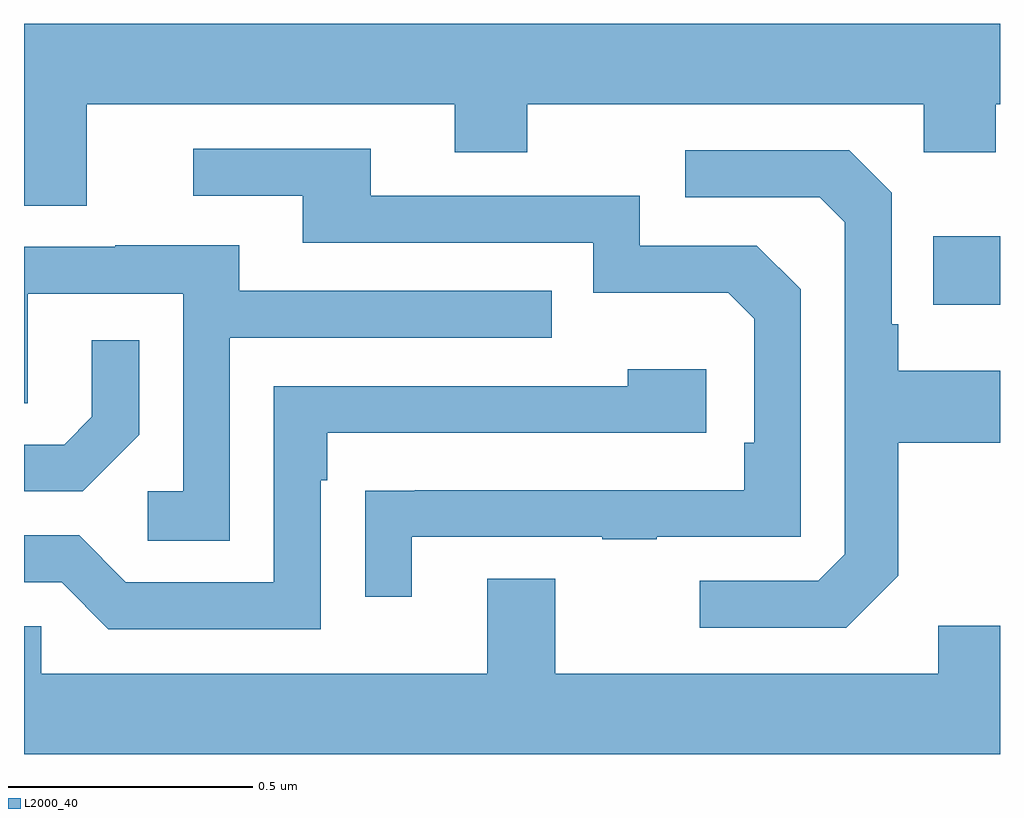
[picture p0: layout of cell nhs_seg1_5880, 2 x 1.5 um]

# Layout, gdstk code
import gdstk
lib = gdstk.Library(unit=1e-6, precision=1e-09)
def R(c, l, rs):  # rectangles x0, y0, x1, y1
    for r in rs: c.add(gdstk.rectangle(r[:2], r[2:], *l))
def P(c, l, *ps):  # polygons
    for p in ps: c.add(gdstk.Polygon(p, *l))
L2000_40 = (2000, 40)

nhs_seg1_5880 = lib.new_cell('nhs_seg1_5880')
R(nhs_seg1_5880, L2000_40, [(185.863,555.317,186,555.457)])
P(nhs_seg1_5880, L2000_40, [(184.129,555.728),(184.883,555.728),(184.883,555.629),(185.031,555.629),(185.031,555.728),(185.844,555.728),(185.844,555.629),(185.991,555.629),(185.991,555.728),(186,555.728),(186,555.892),(184,555.892),(184,555.52),(184.129,555.52)],
  [(184.795,554.841),(185.185,554.841),(185.185,554.836),(185.297,554.836),(185.297,554.841),(185.592,554.841),(185.592,555.348),(185.502,555.438),(185.262,555.438),(185.262,555.54),(184.711,555.54),(184.711,555.636),(184.347,555.636),(184.347,555.54),(184.571,555.54),(184.571,555.444),(185.166,555.444),(185.166,555.341),(185.443,555.341),(185.496,555.288),(185.496,555.034),(185.476,555.034),(185.476,554.937),(184.801,554.937),(184.801,554.936),(184.699,554.936),(184.699,554.718),(184.795,554.718)],
  [(185.791,554.761),(185.791,555.034),(186,555.034),(186,555.181),(185.791,555.181),(185.791,555.277),(185.778,555.277),(185.778,555.546),(185.691,555.633),(185.355,555.633),(185.355,555.537),(185.631,555.537),(185.682,555.486),(185.682,554.805),(185.628,554.751),(185.385,554.751),(185.385,554.655),(185.685,554.655)],
  [(184.422,555.249),(185.081,555.249),(185.081,555.345),(184.441,555.345),(184.441,555.439),(184.187,555.439),(184.187,555.435),(184,555.435),(184,555.115),(184.008,555.115),(184.008,555.339),(184.326,555.339),(184.326,554.934),(184.254,554.934),(184.254,554.833),(184.422,554.833)],
  [(184.236,555.05),(184.236,555.244),(184.139,555.244),(184.139,555.087),(184.082,555.03),(184,555.03),(184,554.934),(184.12,554.934)],
  [(184.608,554.957),(184.621,554.957),(184.621,555.054),(185.398,555.054),(185.398,555.184),(185.237,555.184),(185.237,555.15),(184.512,555.15),(184.512,554.748),(184.209,554.748),(184.113,554.844),(184,554.844),(184,554.748),(184.077,554.748),(184.173,554.652),(184.608,554.652)],
  [(186,554.659),(185.873,554.659),(185.873,554.56),(185.089,554.56),(185.089,554.755),(184.949,554.755),(184.949,554.56),(184.035,554.56),(184.035,554.658),(184,554.658),(184,554.396),(186,554.396)])

lib.write_gds('nhs_seg1_5880.gds')
